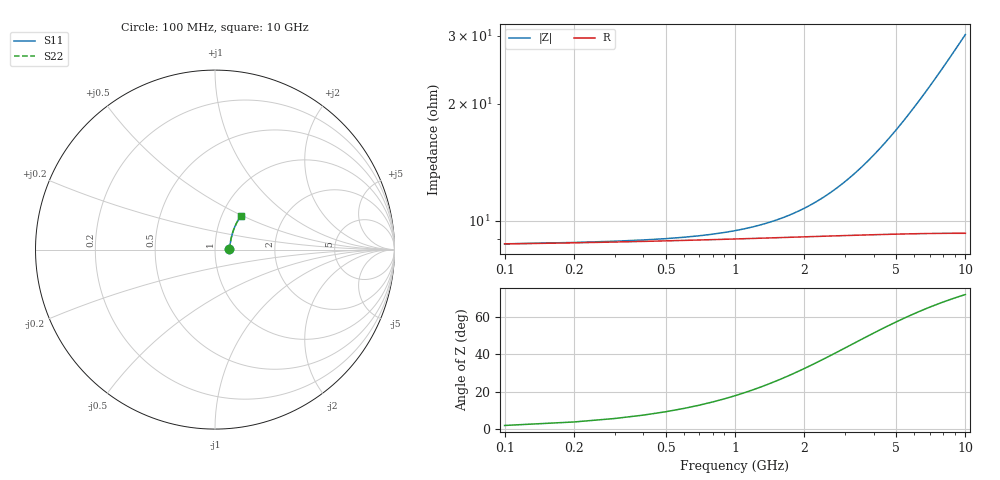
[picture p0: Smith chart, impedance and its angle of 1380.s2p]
# Hz S RI R 50.00
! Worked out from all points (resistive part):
!   100 points, 100 MHz to 10 GHz, reference 50 ohm
!   read as one part in series: R = 8.72 ohm at 100 MHz
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1e8  0.0802 0.00208  0.9198 -0.00281  0.9198 -0.00281  0.0802 0.00208
6e8  0.082 0.0124  0.918 -0.0168  0.918 -0.0168  0.082 0.0124
8e8  0.0825 0.0165  0.9174 -0.0224  0.9174 -0.0224  0.0825 0.0165
1e9  0.0831 0.0206  0.9169 -0.028  0.9169 -0.028  0.0831 0.0206
1.2e9  0.0836 0.0248  0.9164 -0.0335  0.9164 -0.0335  0.0836 0.0248
1.4e9  0.0841 0.0288  0.9158 -0.0391  0.9158 -0.0391  0.0841 0.0288
1.8e9  0.0853 0.037  0.9146 -0.0502  0.9146 -0.0502  0.0853 0.037
2.1e9  0.0863 0.0431  0.9136 -0.0585  0.9136 -0.0585  0.0863 0.0431
2.4e9  0.0873 0.0492  0.9125 -0.0667  0.9125 -0.0667  0.0873 0.0492
2.8e9  0.0889 0.0573  0.9109 -0.0777  0.9109 -0.0777  0.0889 0.0573
3.4e9  0.0915 0.0693  0.9082 -0.0941  0.9082 -0.0941  0.0915 0.0693
4.3e9  0.0962 0.0871  0.9033 -0.1185  0.9033 -0.1185  0.0962 0.0871
5.1e9  0.101 0.1026  0.8982 -0.1399  0.8982 -0.1399  0.101 0.1026
5.5e9  0.1037 0.1102  0.8954 -0.1504  0.8954 -0.1504  0.1037 0.1102
5.9e9  0.1066 0.1178  0.8924 -0.1609  0.8924 -0.1609  0.1066 0.1178
6.3e9  0.1096 0.1253  0.8892 -0.1713  0.8892 -0.1713  0.1096 0.1253
6.7e9  0.1128 0.1326  0.8859 -0.1817  0.8859 -0.1817  0.1128 0.1326
7.5e9  0.1197 0.1471  0.8787 -0.202  0.8787 -0.202  0.1197 0.1471
7.9e9  0.1234 0.1542  0.8748 -0.212  0.8748 -0.212  0.1234 0.1542
8.4e9  0.1282 0.1629  0.8698 -0.2244  0.8698 -0.2244  0.1282 0.1629
9.2e9  0.1364 0.1764  0.8612 -0.2438  0.8612 -0.2438  0.1364 0.1764
1e10  0.1451 0.1894  0.852 -0.2627  0.852 -0.2627  0.1451 0.1894
